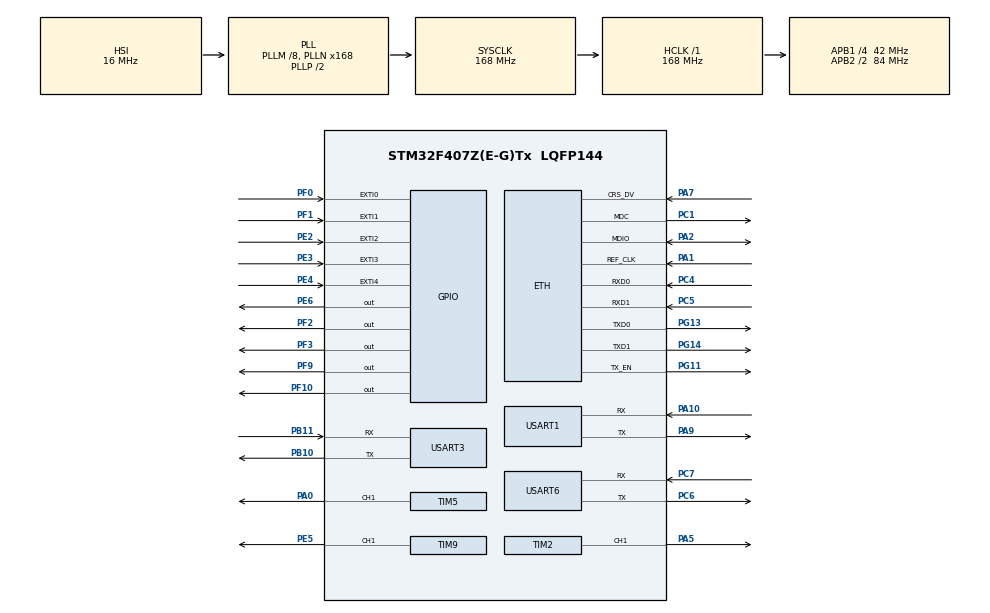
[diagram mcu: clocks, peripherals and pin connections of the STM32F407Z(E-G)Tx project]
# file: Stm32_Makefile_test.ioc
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Dma.Request0=USART1_RX
Dma.Request1=USART1_TX
Dma.Request2=USART3_RX
Dma.Request3=USART3_TX
Dma.USART1_RX.0.Direction=DMA_PERIPH_TO_MEMORY
Dma.USART1_RX.0.FIFOMode=DMA_FIFOMODE_DISABLE
Dma.USART1_RX.0.Instance=DMA2_Stream2
Dma.USART1_RX.0.MemDataAlignment=DMA_MDATAALIGN_BYTE
Dma.USART1_RX.0.MemInc=DMA_MINC_ENABLE
Dma.USART1_RX.0.Mode=DMA_CIRCULAR
Dma.USART1_RX.0.PeriphDataAlignment=DMA_PDATAALIGN_BYTE
Dma.USART1_RX.0.PeriphInc=DMA_PINC_DISABLE
Dma.USART1_RX.0.Priority=DMA_PRIORITY_VERY_HIGH
Dma.USART1_TX.1.Direction=DMA_MEMORY_TO_PERIPH
Dma.USART1_TX.1.FIFOMode=DMA_FIFOMODE_DISABLE
Dma.USART1_TX.1.Instance=DMA2_Stream7
Dma.USART1_TX.1.MemDataAlignment=DMA_MDATAALIGN_BYTE
Dma.USART1_TX.1.MemInc=DMA_MINC_ENABLE
Dma.USART1_TX.1.Mode=DMA_NORMAL
Dma.USART1_TX.1.PeriphDataAlignment=DMA_PDATAALIGN_BYTE
Dma.USART1_TX.1.PeriphInc=DMA_PINC_DISABLE
Dma.USART1_TX.1.Priority=DMA_PRIORITY_MEDIUM
Dma.USART3_RX.2.Direction=DMA_PERIPH_TO_MEMORY
Dma.USART3_RX.2.FIFOMode=DMA_FIFOMODE_DISABLE
Dma.USART3_RX.2.Instance=DMA1_Stream1
Dma.USART3_RX.2.MemDataAlignment=DMA_MDATAALIGN_BYTE
Dma.USART3_RX.2.MemInc=DMA_MINC_ENABLE
Dma.USART3_RX.2.Mode=DMA_NORMAL
Dma.USART3_RX.2.PeriphDataAlignment=DMA_PDATAALIGN_BYTE
Dma.USART3_RX.2.PeriphInc=DMA_PINC_DISABLE
Dma.USART3_RX.2.Priority=DMA_PRIORITY_VERY_HIGH
Dma.USART3_TX.3.Direction=DMA_MEMORY_TO_PERIPH
Dma.USART3_TX.3.FIFOMode=DMA_FIFOMODE_DISABLE
Dma.USART3_TX.3.Instance=DMA1_Stream3
Dma.USART3_TX.3.MemDataAlignment=DMA_MDATAALIGN_BYTE
Dma.USART3_TX.3.MemInc=DMA_MINC_ENABLE
Dma.USART3_TX.3.Mode=DMA_NORMAL
Dma.USART3_TX.3.PeriphDataAlignment=DMA_PDATAALIGN_BYTE
Dma.USART3_TX.3.PeriphInc=DMA_PINC_DISABLE
Dma.USART3_TX.3.Priority=DMA_PRIORITY_MEDIUM
ETH.MediaInterface=ETH_MEDIA_INTERFACE_RMII
FREERTOS.INCLUDE_xTaskGetHandle=1
FREERTOS.Tasks01=defaultTask,24,1500,StartDefaultTask,Default,NULL,Dynamic,NULL,NULL
FREERTOS.configENABLE_FPU=1
FREERTOS.configGENERATE_RUN_TIME_STATS=1
FREERTOS.configTOTAL_HEAP_SIZE=50000
FREERTOS.configUSE_POSIX_ERRNO=1
FREERTOS.configUSE_STATS_FORMATTING_FUNCTIONS=1
LWIP.LWIP_DNS=1
LWIP.Version=v2.1.2_Cube
Mcu.Family=STM32F4
Mcu.Name=STM32F407Z(E-G)Tx
Mcu.Package=LQFP144
NVIC.DMA1_Stream1_IRQn=true\:5\:0\:false\:false\:true\:true\:false\:true
NVIC.DMA1_Stream3_IRQn=true\:5\:0\:false\:false\:true\:true\:false\:true
NVIC.DMA2_Stream2_IRQn=true\:5\:0\:false\:false\:true\:true\:false\:true
NVIC.DMA2_Stream7_IRQn=true\:5\:0\:false\:false\:true\:true\:false\:true
NVIC.ETH_IRQn=true\:5\:0\:false\:false\:true\:true\:false\:true
NVIC.EXTI0_IRQn=true\:5\:0\:false\:false\:true\:true\:true\:true
NVIC.EXTI1_IRQn=true\:5\:0\:false\:false\:true\:true\:true\:true
NVIC.EXTI2_IRQn=true\:5\:0\:false\:false\:true\:true\:true\:true
NVIC.EXTI3_IRQn=true\:5\:0\:false\:false\:true\:true\:true\:true
NVIC.EXTI4_IRQn=true\:5\:0\:false\:false\:true\:true\:true\:true
NVIC.PriorityGroup=NVIC_PRIORITYGROUP_4
NVIC.TIM1_UP_TIM10_IRQn=true\:0\:0\:false\:false\:true\:false\:false\:true
NVIC.TIM3_IRQn=true\:5\:0\:false\:false\:true\:true\:true\:true
NVIC.TIM4_IRQn=true\:5\:0\:false\:false\:true\:true\:true\:true
NVIC.TIM5_IRQn=true\:5\:0\:false\:false\:true\:true\:true\:true
NVIC.TIM6_DAC_IRQn=true\:5\:0\:false\:false\:true\:true\:true\:true
NVIC.TimeBase=TIM1_UP_TIM10_IRQn
NVIC.TimeBaseIP=TIM1
NVIC.USART1_IRQn=true\:5\:0\:false\:false\:true\:true\:true\:true
PA0-WKUP.Signal=S_TIM5_CH1
PA1.Mode=RMII
PA1.Signal=ETH_REF_CLK
PA10.Mode=Asynchronous
PA10.Signal=USART1_RX
PA2.Mode=RMII
PA2.Signal=ETH_MDIO
PA5.Signal=S_TIM2_CH1_ETR
PA7.Mode=RMII
PA7.Signal=ETH_CRS_DV
PA9.Mode=Asynchronous
PA9.Signal=USART1_TX
PB10.Mode=Asynchronous
PB10.Signal=USART3_TX
PB11.Mode=Asynchronous
PB11.Signal=USART3_RX
PC1.Mode=RMII
PC1.Signal=ETH_MDC
PC4.Mode=RMII
PC4.Signal=ETH_RXD0
PC5.Mode=RMII
PC5.Signal=ETH_RXD1
PC6.Mode=Asynchronous
PC6.Signal=USART6_TX
PC7.Mode=Asynchronous
PC7.Signal=USART6_RX
PE2.GPIO_ModeDefaultEXTI=GPIO_MODE_IT_FALLING
PE2.GPIO_PuPd=GPIO_PULLUP
PE2.Signal=GPXTI2
PE3.GPIO_ModeDefaultEXTI=GPIO_MODE_IT_FALLING
PE3.GPIO_PuPd=GPIO_PULLUP
PE3.Signal=GPXTI3
PE4.GPIO_ModeDefaultEXTI=GPIO_MODE_IT_FALLING
PE4.GPIO_PuPd=GPIO_PULLUP
PE4.Signal=GPXTI4
PE5.Signal=S_TIM9_CH1
PE6.PinState=GPIO_PIN_SET
PE6.Signal=GPIO_Output
PF0.Signal=GPXTI0
PF1.Signal=GPXTI1
PF10.Signal=GPIO_Output
PF2.Signal=GPIO_Output
PF3.Signal=GPIO_Output
PF9.Signal=GPIO_Output
PG11.Mode=RMII
PG11.Signal=ETH_TX_EN
PG13.Mode=RMII
PG13.Signal=ETH_TXD0
PG14.Mode=RMII
PG14.Signal=ETH_TXD1
ProjectManager.HeapSize=0x200
ProjectManager.StackSize=0x400
ProjectManager.TargetToolchain=Makefile
RCC.48MHZClocksFreq_Value=84000000
RCC.AHBFreq_Value=168000000
RCC.APB1CLKDivider=RCC_HCLK_DIV4
RCC.APB1Freq_Value=42000000
RCC.APB1TimFreq_Value=84000000
RCC.APB2CLKDivider=RCC_HCLK_DIV2
RCC.APB2Freq_Value=84000000
RCC.APB2TimFreq_Value=168000000
RCC.CortexFreq_Value=168000000
RCC.HCLKFreq_Value=168000000
RCC.HSE_VALUE=25000000
RCC.HSI_VALUE=16000000
RCC.LSE_VALUE=32768
RCC.PLLM=8
RCC.PLLN=168
RCC.SYSCLKFreq_VALUE=168000000
RCC.SYSCLKSource=RCC_SYSCLKSOURCE_PLLCLK
RCC.VCOOutputFreq_Value=336000000
SH.S_TIM2_CH1_ETR.0=TIM2_CH1,PWM Generation1 CH1
SH.S_TIM5_CH1.0=TIM5_CH1,PWM Generation1 CH1
SH.S_TIM9_CH1.0=TIM9_CH1,PWM Generation1 CH1
TIM2.Channel-PWM\ Generation1\ CH1=TIM_CHANNEL_1
TIM2.OCPolarity_1=TIM_OCPOLARITY_LOW
TIM2.Period=99
TIM2.Prescaler=83
TIM2.Pulse-PWM\ Generation1\ CH1=50
TIM2.TIM_MasterOutputTrigger=TIM_TRGO_UPDATE
TIM2.TIM_MasterSlaveMode=TIM_MASTERSLAVEMODE_ENABLE
TIM3.Period=1023
TIM3.TIM_MasterOutputTrigger=TIM_TRGO_OC1REF
TIM4.AutoReloadPreload=TIM_AUTORELOAD_PRELOAD_ENABLE
TIM4.Period=9999
TIM4.Prescaler=8399
TIM5.AutoReloadPreload=TIM_AUTORELOAD_PRELOAD_ENABLE
TIM5.Channel-PWM\ Generation1\ CH1=TIM_CHANNEL_1
TIM5.Period=9999
TIM5.Prescaler=8399
TIM6.AutoReloadPreload=TIM_AUTORELOAD_PRELOAD_ENABLE
TIM6.Period=5000
TIM6.Prescaler=8399
TIM9.Channel-PWM\ Generation1\ CH1=TIM_CHANNEL_1
TIM9.Period=499
TIM9.Prescaler=83
TIM9.Pulse-PWM\ Generation1\ CH1=250
USART1.VirtualMode=VM_ASYNC
USART3.VirtualMode=VM_ASYNC
USART6.VirtualMode=VM_ASYNC
VP_FREERTOS_VS_CMSIS_V2.Mode=CMSIS_V2
VP_LWIP_VS_Enabled.Mode=Enabled
VP_SYS_VS_tim1.Mode=TIM1
VP_TIM2_VS_ClockSourceINT.Mode=Internal
VP_TIM3_VS_ClockSourceITR.Mode=TriggerSource_ITR1
VP_TIM3_VS_ControllerModeClock.Mode=Clock Mode
VP_TIM4_VS_ClockSourceINT.Mode=Internal
VP_TIM5_VS_ClockSourceINT.Mode=Internal
VP_TIM6_VS_ClockSourceINT.Mode=Enable_Timer
VP_TIM9_VS_ClockSourceINT.Mode=Internal
board=custom

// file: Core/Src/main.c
/* USER CODE BEGIN Header */
/**
  ******************************************************************************
  * @file           : main.c
  * @brief          : Main program body
  ******************************************************************************
  * @attention
  *
  * <h2><center>&copy; Copyright (c) 2021 STMicroelectronics.
  * All rights reserved.</center></h2>
  *
  * This software component is licensed by ST under Ultimate Liberty license
  * SLA0044, the "License"; You may not use this file except in compliance with
  * the License. You may obtain a copy of the License at:
  *                             www.st.com/SLA0044
  *
  ******************************************************************************
  */
/* USER CODE END Header */
#include "main.h"
#include "cmsis_os.h"
#include "dma.h"
#include "lwip.h"
#include "tim.h"
#include "usart.h"
#include "gpio.h"

/* USER CODE BEGIN Includes */
#include "retarget.h"
/* USER CODE END Includes */

/* USER CODE BEGIN PV */
uint8_t timerCount = 0;
uint8_t timerFlag = 0;

/* USER CODE END PV */

void SystemClock_Config(void);
void MX_FREERTOS_Init(void);

int main(void)
{

  /* MCU Configuration--------------------------------------------------------*/

  /* Reset of all peripherals, Initializes the Flash interface and the Systick. */
  HAL_Init();

  /* Configure the system clock */
  SystemClock_Config();

  /* Initialize all configured peripherals */
  MX_GPIO_Init();
  MX_DMA_Init();
  MX_USART1_UART_Init();
  MX_TIM9_Init();
  MX_TIM6_Init();
  MX_USART6_UART_Init();
  MX_USART3_UART_Init();
  MX_TIM4_Init();
  MX_TIM5_Init();
  MX_TIM2_Init();
  MX_TIM3_Init();
  /* USER CODE BEGIN 2 */
  Retarget_Init(&huart6);
//  HAL_TIM_PWM_Start(&htim9, TIM_CHANNEL_1);
  HAL_TIM_Base_Start_IT(&htim6);

  printf("printf is ready \r\n");
  /* USER CODE END 2 */

  /* Init scheduler */
  osKernelInitialize();  /* Call init function for freertos objects (in freertos.c) */
  MX_FREERTOS_Init();
  /* Start scheduler */
  osKernelStart();

  /* We should never get here as control is now taken by the scheduler */
  /* Infinite loop */
  while (1)
  {

  }
}

void SystemClock_Config(void)
{
  RCC_OscInitTypeDef RCC_OscInitStruct = {0};
  RCC_ClkInitTypeDef RCC_ClkInitStruct = {0};

  /** Configure the main internal regulator output voltage
  */
  __HAL_RCC_PWR_CLK_ENABLE();
  __HAL_PWR_VOLTAGESCALING_CONFIG(PWR_REGULATOR_VOLTAGE_SCALE1);
  /** Initializes the RCC Oscillators according to the specified parameters
  * in the RCC_OscInitTypeDef structure.
  */
  RCC_OscInitStruct.OscillatorType = RCC_OSCILLATORTYPE_HSI;
  RCC_OscInitStruct.HSIState = RCC_HSI_ON;
  RCC_OscInitStruct.HSICalibrationValue = RCC_HSICALIBRATION_DEFAULT;
  RCC_OscInitStruct.PLL.PLLState = RCC_PLL_ON;
  RCC_OscInitStruct.PLL.PLLSource = RCC_PLLSOURCE_HSI;
  RCC_OscInitStruct.PLL.PLLM = 8;
  RCC_OscInitStruct.PLL.PLLN = 168;
  RCC_OscInitStruct.PLL.PLLP = RCC_PLLP_DIV2;
  RCC_OscInitStruct.PLL.PLLQ = 4;
  if (HAL_RCC_OscConfig(&RCC_OscInitStruct) != HAL_OK)
  {
    Error_Handler();
  }
  /** Initializes the CPU, AHB and APB buses clocks
  */
  RCC_ClkInitStruct.ClockType = RCC_CLOCKTYPE_HCLK|RCC_CLOCKTYPE_SYSCLK
                              |RCC_CLOCKTYPE_PCLK1|RCC_CLOCKTYPE_PCLK2;
  RCC_ClkInitStruct.SYSCLKSource = RCC_SYSCLKSOURCE_PLLCLK;
  RCC_ClkInitStruct.AHBCLKDivider = RCC_SYSCLK_DIV1;
  RCC_ClkInitStruct.APB1CLKDivider = RCC_HCLK_DIV4;
  RCC_ClkInitStruct.APB2CLKDivider = RCC_HCLK_DIV2;

  if (HAL_RCC_ClockConfig(&RCC_ClkInitStruct, FLASH_LATENCY_5) != HAL_OK)
  {
    Error_Handler();
  }
}

/* USER CODE BEGIN 4 */
void __weak TimeForRunTimeStats_IRQHandler(void){

}
/* USER CODE END 4 */

 /**
  * @brief  Period elapsed callback in non blocking mode
  * @note   This function is called  when TIM1 interrupt took place, inside
  * HAL_TIM_IRQHandler(). It makes a direct call to HAL_IncTick() to increment
  * a global variable "uwTick" used as application time base.
  * @param  htim : TIM handle
  * @retval None
  */
void HAL_TIM_PeriodElapsedCallback(TIM_HandleTypeDef *htim)
{
  /* USER CODE BEGIN Callback 0 */
//  static uint16_t period = 0;
  if(htim == &htim6){
	TimeForRunTimeStats_IRQHandler();
	if(timerCount++ >= 10000){
		timerFlag = 1;
		timerCount = 0;
		printf("test printf \r\n");
	}
  }

  if(htim->Instance == TIM3)
  {
    if(__HAL_TIM_GET_FLAG(&htim3, TIM_FLAG_CC1) != RESET)
    {
      __HAL_TIM_CLEAR_FLAG(&htim3, TIM_FLAG_CC1);

      HAL_TIM_PWM_Stop(&htim2, TIM_CHANNEL_1);

      HAL_TIM_Base_Stop_IT(&htim3);
    }
  }

  /* USER CODE END Callback 0 */
  if (htim->Instance == TIM1) {
    HAL_IncTick();
  }
}

void Error_Handler(void)
{
  __disable_irq();
  while (1)
  {
  }
}

/************************ (C) COPYRIGHT STMicroelectronics *****END OF FILE****/

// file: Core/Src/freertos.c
/* USER CODE BEGIN Header */
/**
  ******************************************************************************
  * File Name          : freertos.c
  * Description        : Code for freertos applications
  ******************************************************************************
  * @attention
  *
  * <h2><center>&copy; Copyright (c) 2021 STMicroelectronics.
  * All rights reserved.</center></h2>
  *
  * This software component is licensed by ST under Ultimate Liberty license
  * SLA0044, the "License"; You may not use this file except in compliance with
  * the License. You may obtain a copy of the License at:
  *                             www.st.com/SLA0044
  *
  ******************************************************************************
  */
/* USER CODE END Header */

#include "FreeRTOS.h"
#include "task.h"
#include "main.h"
#include "cmsis_os.h"

/* USER CODE BEGIN Includes */
#include <stdbool.h>
#include "allocators.h"
#include "cmsis_os.h"

#include <rcl/rcl.h>
#include <rmw_microxrcedds_c/config.h>
#include <ucdr/microcdr.h>
#include <uxr/client/client.h>
#include <lwip.h>
#include <stdio.h>

#include <rmw_microxrcedds_c/config.h>
#include "microros_transports.h"
#include "usart.h"
#include "retarget.h"
#include "../../Component/Key/key.h"
#include "../../Component/PWM/pwm.h"
#include "../../Component/Motor_App/motor_app.h"

#include "tim.h"
/* USER CODE END Includes */

/* USER CODE BEGIN PTD */
void CheckGPIO();
/* USER CODE END PTD */

/* USER CODE BEGIN PD */
extern struct netif gnetif;
/* USER CODE END PD */

/* Definitions for defaultTask */
osThreadId_t defaultTaskHandle;
const osThreadAttr_t defaultTask_attributes = {
  .name = "defaultTask",
  .priority = (osPriority_t) osPriorityNormal,
  .stack_size = 1500 * 4
};

void StartDefaultTask(void *argument);

extern void MX_LWIP_Init(void);
void MX_FREERTOS_Init(void); /* (MISRA C 2004 rule 8.1) */

/* Hook prototypes */
void configureTimerForRunTimeStats(void);
unsigned long getRunTimeCounterValue(void);

/* USER CODE BEGIN 1 */
/* Functions needed when configGENERATE_RUN_TIME_STATS is on */
__weak void configureTimerForRunTimeStats(void)
{

}

__weak unsigned long getRunTimeCounterValue(void)
{
return 0;
}
/* USER CODE END 1 */

void MX_FREERTOS_Init(void) {

  /* Create the thread(s) */
  /* creation of defaultTask */
  defaultTaskHandle = osThreadNew(StartDefaultTask, NULL, &defaultTask_attributes);

}

void StartDefaultTask(void *argument)
{
  /* init code for LWIP */
  MX_LWIP_Init();
  /* USER CODE BEGIN StartDefaultTask */
  /* Infinite loop */
  HAL_GPIO_WritePin(GPIOF, GPIO_PIN_9, GPIO_PIN_SET);
  bool availableNetwork = false;

#ifdef RMW_UXRCE_TRANSPORT_CUSTOM
  availableNetwork = true;
  rmw_uros_set_custom_transport(
    true,
    (void *) &huart1,
    freertos_serial_open,
    freertos_serial_close,
    freertos_serial_write,
    freertos_serial_read);
  printf("Init uxr serial \r\n");
#elif defined(RMW_UXRCE_TRANSPORT_UDP)
//#elif defined(MICRO_XRCEDDS_UDP)
  printf("Ethernet Initialization \r\n");

  printf("Waiting for IP \r\n");
  int retries = 0;

  HAL_GPIO_WritePin(GPIOF, GPIO_PIN_10, GPIO_PIN_SET);

  while(gnetif.ip_addr.addr == 0 && retries < 10){
  	HAL_GPIO_WritePin(GPIOF, GPIO_PIN_10, GPIO_PIN_SET);
	osDelay(500);
	HAL_GPIO_WritePin(GPIOF, GPIO_PIN_10, GPIO_PIN_RESET);
	retries++;
  };

  HAL_GPIO_WritePin(GPIOF, GPIO_PIN_9, GPIO_PIN_RESET);

  availableNetwork = (gnetif.ip_addr.addr != 0);
  if(availableNetwork){
  	printf("IP: %s \r\n", ip4addr_ntoa(&(gnetif.ip_addr)));
  } else {
  	printf("Impossible to retrieve an IP \n");
  }
#endif
  printf("endif----- \r\n");

  rcl_allocator_t freeRTOS_allocator = rcutils_get_zero_initialized_allocator();
  freeRTOS_allocator.allocate = __freertos_allocate;
  freeRTOS_allocator.deallocate = __freertos_deallocate;
  freeRTOS_allocator.reallocate = __freertos_reallocate;
  freeRTOS_allocator.zero_allocate = __freertos_zero_allocate;

  if(!rcutils_set_default_allocator(&freeRTOS_allocator)){
  	printf("Error on default allocators (line %d)\n", __LINE__);
  }
  else {
  	printf("freeRTOS allocator success \r\n");
  }

  /* the second thread */
  osThreadAttr_t attributes_second;
  memset(&attributes_second, 0x0, sizeof(osThreadAttr_t));
  attributes_second.name = "motor_app";
  attributes_second.stack_size = 5000;
  attributes_second.priority = (osPriority_t)osPriorityNormal;
  osThreadNew(Motor_App, NULL, &attributes_second);
  osDelay(500);

  osThreadAttr_t attributes;
  memset(&attributes, 0x0, sizeof(osThreadAttr_t));
  attributes.name = "microROS_app";
  attributes.stack_size = 25000;
  attributes.priority = (osPriority_t)osPriorityNormal1;
  printf("before appMain \r\n");
  osThreadNew(appMain, NULL, &attributes);
//  Retarget_Init(&huart1);
  osDelay(500);
  char ptrTaskList[500];
  vTaskList(ptrTaskList);
  printf("**********************************\n");
  printf("Task  State   Prio    Stack    Num\n");
  printf("**********************************\n");
  printf(ptrTaskList);
  printf("**********************************\n");

  TaskHandle_t xHandle;
  xHandle = xTaskGetHandle("microROS_app");

  PWM_SetMode(PWM_NOR);

  HAL_TIM_PWM_Start(&htim9, TIM_CHANNEL_1);

  int eRunningStateCount = 0;
  int eSuspendedStateCount = 0;
  int eBlockedStateCount = 0;
  for(;;)
  {
//    printf("into the printf \r\n");

      //GPIO test in CheckGPIO();
    osDelay(100);
//    CheckGPIO();
  //Check for the Task detail.
//  osDelay(3000);
//  PrintfTaskList(ptrTaskList);

    //Check eTaskGetState
//    if(eTaskGetState(xHandle) == eRunning){
//    	//counting running
//	eRunningStateCount++;
//    } else if(eTaskGetState(xHandle) == eSuspended){
//    	eSuspendedStateCount++;
//    } else if(eTaskGetState(xHandle) == eBlocked){
//    	eBlockedStateCount++;
//    }
//

//    char *timeRunStat[500];
//    if(timerFlag == 1){
//    	timerFlag = 0;
//	vTaskGetRunTimeStats(timeRunStat);
//    	printf("task \t\t time \t\t duty \t\t");
//	printf("%s \r\n", timeRunStat);
//    }
//

//    if (eTaskGetState(xHandle) != eSuspended && availableNetwork && eTaskGetState(xHandle) != eRunning)
//    {
//    	HAL_GPIO_WritePin(GPIOF, GPIO_PIN_10, GPIO_PIN_SET);
//	osDelay(150);
//	HAL_GPIO_WritePin(GPIOF, GPIO_PIN_10, GPIO_PIN_RESET);
//	osDelay(150);
//	HAL_GPIO_WritePin(GPIOF, GPIO_PIN_9, GPIO_PIN_SET);
//	osDelay(150);
//	HAL_GPIO_WritePin(GPIOF, GPIO_PIN_9, GPIO_PIN_RESET);
//	osDelay(150);
//    } else {
//        HAL_GPIO_WritePin(GPIOF, GPIO_PIN_10, GPIO_PIN_SET);
//	osDelay(1000);
//	HAL_GPIO_WritePin(GPIOF, GPIO_PIN_10, GPIO_PIN_RESET);
//	osDelay(1000);
//	HAL_GPIO_WritePin(GPIOF, GPIO_PIN_9, GPIO_PIN_SET);
//	osDelay(1000);
//	HAL_GPIO_WritePin(GPIOF, GPIO_PIN_9, GPIO_PIN_RESET);
//	osDelay(1000);
//    }

  }

  /* USER CODE END StartDefaultTask */
}

/* USER CODE BEGIN Application */
void vApplicationStackOverflowHook( TaskHandle_t xTask, signed char *pcTaskName )

{

    printf("Task %s stack OverFlow \r\n", pcTaskName);

}

int PrintfTaskList(char * _ptrTaskList){

  if(_ptrTaskList == NULL){
  	return -1;
  }

  osDelay(3000);
  vTaskList(_ptrTaskList);
  printf("**********************************\n");
  printf("Task  State   Prio    Stack    Num\n");
  printf("**********************************\n");
  printf(_ptrTaskList);
  printf("**********************************\n");

  return 0;
}

void CheckGPIO(){
	//printf("PE2: %d \r\n", HAL_GPIO_ReadPin(GPIOE, GPIO_PIN_2));
	//printf("PE3: %d \r\n", HAL_GPIO_ReadPin(GPIOE, GPIO_PIN_3));
	HAL_GPIO_WritePin(GPIOF, GPIO_PIN_3, GPIO_PIN_SET);
	HAL_GPIO_WritePin(GPIOF, GPIO_PIN_2, GPIO_PIN_SET);
	osDelay(1000);
	HAL_GPIO_WritePin(GPIOF, GPIO_PIN_3, GPIO_PIN_RESET);
	HAL_GPIO_WritePin(GPIOF, GPIO_PIN_2, GPIO_PIN_RESET);
	osDelay(1000);

}
/* USER CODE END Application */

/************************ (C) COPYRIGHT STMicroelectronics *****END OF FILE****/
